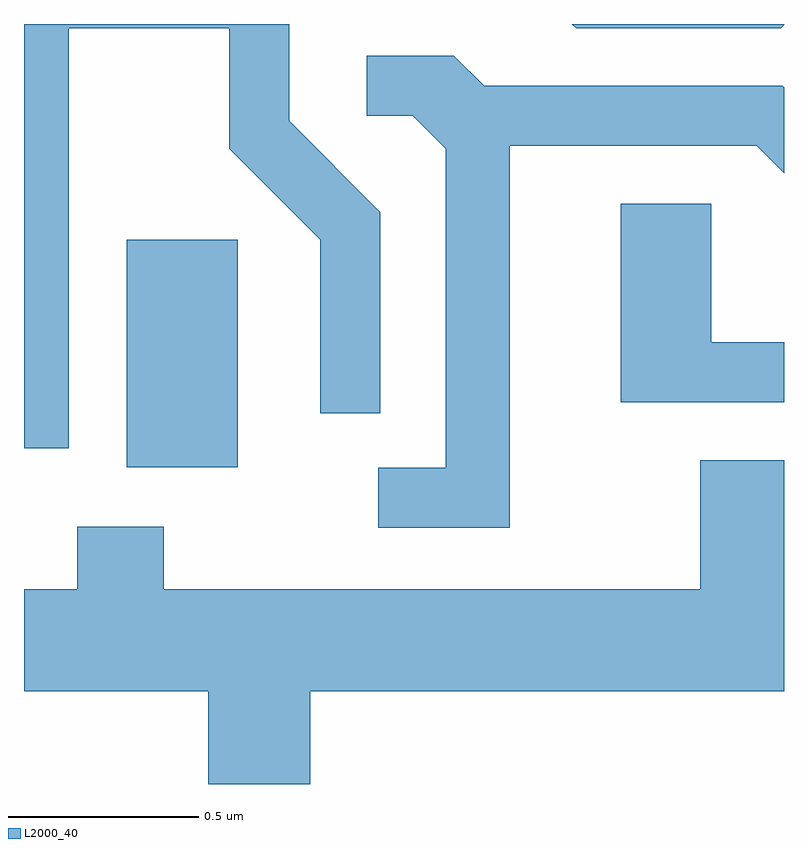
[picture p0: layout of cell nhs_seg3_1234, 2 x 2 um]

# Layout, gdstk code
import gdstk
lib = gdstk.Library(unit=1e-6, precision=1e-09)
def R(c, l, rs):  # rectangles x0, y0, x1, y1
    for r in rs: c.add(gdstk.rectangle(r[:2], r[2:], *l))
def P(c, l, *ps):  # polygons
    for p in ps: c.add(gdstk.Polygon(p, *l))
L2000_40 = (2000, 40)

nhs_seg3_1234 = lib.new_cell('nhs_seg3_1234')
R(nhs_seg3_1234, L2000_40, [(194.881,1117.726,195.174,1118.324)])
P(nhs_seg3_1234, L2000_40, [(194.729,1118.881),(195.151,1118.881),(195.151,1118.564),(195.391,1118.324),(195.391,1117.868),(195.549,1117.868),(195.549,1118.397),(195.309,1118.637),(195.309,1118.892),(194.611,1118.892),(194.611,1117.776),(194.729,1117.776)],
  [(196.611,1118.89),(196.611,1118.892),(196.053,1118.892),(196.064,1118.881),(196.602,1118.881)],
  [(195.889,1118.571),(196.539,1118.571),(196.611,1118.499),(196.611,1118.725),(196.607,1118.729),(195.822,1118.729),(195.742,1118.809),(195.513,1118.809),(195.513,1118.651),(195.634,1118.651),(195.721,1118.564),(195.721,1117.724),(195.543,1117.724),(195.543,1117.566),(195.889,1117.566)],
  [(196.611,1118.054),(196.419,1118.054),(196.419,1118.419),(196.181,1118.419),(196.181,1117.896),(196.611,1117.896)],
  [(195.364,1117.136),(196.611,1117.136),(196.611,1117.744),(196.391,1117.744),(196.391,1117.404),(194.979,1117.404),(194.979,1117.569),(194.751,1117.569),(194.751,1117.404),(194.611,1117.404),(194.611,1117.136),(195.096,1117.136),(195.096,1116.892),(195.364,1116.892)])

lib.write_gds('nhs_seg3_1234.gds')
